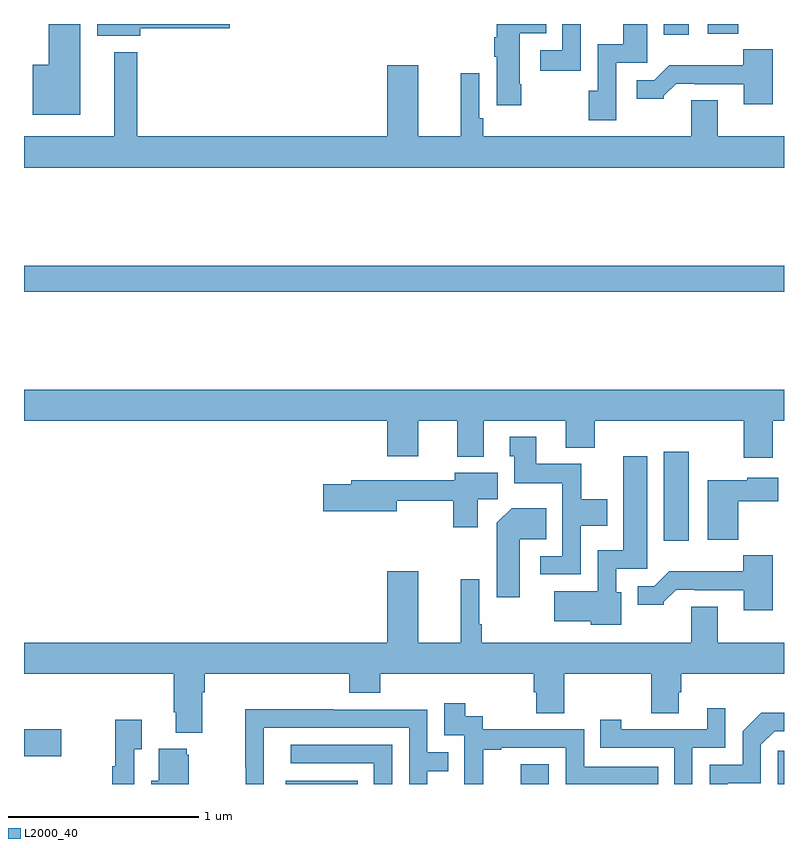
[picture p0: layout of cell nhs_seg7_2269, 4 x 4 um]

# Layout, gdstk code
import gdstk
lib = gdstk.Library(unit=1e-6, precision=1e-09)
def R(c, l, rs):  # rectangles x0, y0, x1, y1
    for r in rs: c.add(gdstk.rectangle(r[:2], r[2:], *l))
def P(c, l, *ps):  # polygons
    for p in ps: c.add(gdstk.Polygon(p, *l))
L2000_40 = (2000, 40)

nhs_seg7_2269 = lib.new_cell('nhs_seg7_2269')
R(nhs_seg7_2269, L2000_40, [(260.378,1036,260.756,1036.018), (261.615,1036,261.762,1036.105), (262.968,1036,263,1036.174), (259,1036.145,259.195,1036.287), (262.367,1037.28,262.498,1037.749), (259,1038.592,263,1038.728), (262.367,1039.944,262.498,1040), (262.598,1039.949,262.76,1040)])
P(nhs_seg7_2269, L2000_40, [(261.93,1040),(261.834,1040),(261.834,1039.863),(261.717,1039.863),(261.717,1039.755),(261.93,1039.755)],
  [(259.297,1040),(259.13,1040),(259.13,1039.786),(259.046,1039.786),(259.046,1039.523),(259.297,1039.523)],
  [(262.116,1039.797),(262.279,1039.797),(262.279,1040),(262.154,1040),(262.154,1039.894),(262.02,1039.894),(262.02,1039.65),(261.973,1039.65),(261.973,1039.494),(262.116,1039.494)],
  [(261.618,1039.684),(261.61,1039.684),(261.61,1039.952),(261.749,1039.952),(261.749,1040),(261.488,1040),(261.488,1039.931),(261.476,1039.931),(261.476,1039.828),(261.488,1039.828),(261.488,1039.572),(261.618,1039.572)],
  [(259.612,1039.978),(260.083,1039.978),(260.083,1040),(259.385,1040),(259.385,1039.937),(259.612,1039.937)],
  [(262.94,1039.867),(262.785,1039.867),(262.785,1039.783),(262.396,1039.783),(262.317,1039.704),(262.224,1039.704),(262.224,1039.607),(262.368,1039.607),(262.368,1039.622),(262.432,1039.686),(262.531,1039.686),(262.531,1039.683),(262.787,1039.683),(262.787,1039.578),(262.94,1039.578)],
  [(263,1039.408),(262.651,1039.408),(262.651,1039.598),(262.511,1039.598),(262.511,1039.408),(261.416,1039.408),(261.416,1039.504),(261.396,1039.504),(261.396,1039.741),(261.298,1039.741),(261.298,1039.408),(261.076,1039.408),(261.076,1039.783),(260.912,1039.783),(260.912,1039.408),(259.597,1039.408),(259.597,1039.852),(259.475,1039.852),(259.475,1039.408),(259,1039.408),(259,1039.244),(263,1039.244)],
  [(262.94,1037.912),(263,1037.912),(263,1038.076),(259,1038.076),(259,1037.912),(260.912,1037.912),(260.912,1037.724),(261.076,1037.724),(261.076,1037.912),(261.281,1037.912),(261.281,1037.723),(261.421,1037.723),(261.421,1037.912),(261.851,1037.912),(261.851,1037.771),(262.004,1037.771),(262.004,1037.912),(262.787,1037.912),(262.787,1037.718),(262.94,1037.718)],
  [(261.93,1037.36),(262.069,1037.36),(262.069,1037.5),(261.933,1037.5),(261.933,1037.686),(261.697,1037.686),(261.697,1037.827),(261.557,1037.827),(261.557,1037.724),(261.581,1037.724),(261.581,1037.582),(261.834,1037.582),(261.834,1037.199),(261.717,1037.199),(261.717,1037.103),(261.93,1037.103)],
  [(262.144,1037.01),(262.116,1037.01),(262.116,1037.133),(262.279,1037.133),(262.279,1037.725),(262.154,1037.725),(262.154,1037.23),(262.02,1037.23),(262.02,1037.014),(261.791,1037.014),(261.791,1036.856),(261.984,1036.856),(261.984,1036.838),(262.144,1036.838)],
  [(261.388,1037.5),(261.493,1037.5),(261.493,1037.638),(261.266,1037.638),(261.266,1037.598),(260.723,1037.598),(260.723,1037.577),(260.574,1037.577),(260.574,1037.435),(260.962,1037.435),(260.962,1037.49),(261.259,1037.49),(261.259,1037.352),(261.388,1037.352)],
  [(262.76,1037.489),(262.969,1037.489),(262.969,1037.611),(262.806,1037.611),(262.806,1037.599),(262.598,1037.599),(262.598,1037.285),(262.76,1037.285)],
  [(261.61,1037.288),(261.749,1037.288),(261.749,1037.452),(261.566,1037.452),(261.488,1037.374),(261.488,1036.983),(261.61,1036.983)],
  [(262.94,1037.203),(262.785,1037.203),(262.785,1037.119),(262.396,1037.119),(262.317,1037.04),(262.229,1037.04),(262.229,1036.943),(262.368,1036.943),(262.368,1036.958),(262.432,1037.022),(262.531,1037.022),(262.531,1037.019),(262.787,1037.019),(262.787,1036.914),(262.94,1036.914)],
  [(259.939,1036.484),(259.952,1036.484),(259.952,1036.58),(260.711,1036.58),(260.711,1036.481),(260.876,1036.481),(260.876,1036.58),(261.683,1036.58),(261.683,1036.482),(261.695,1036.482),(261.695,1036.372),(261.843,1036.372),(261.843,1036.58),(262.3,1036.58),(262.3,1036.372),(262.447,1036.372),(262.447,1036.482),(262.46,1036.482),(262.46,1036.58),(263,1036.58),(263,1036.744),(262.651,1036.744),(262.651,1036.934),(262.511,1036.934),(262.511,1036.744),(261.409,1036.744),(261.409,1036.84),(261.396,1036.84),(261.396,1037.077),(261.298,1037.077),(261.298,1036.744),(261.076,1036.744),(261.076,1037.119),(260.912,1037.119),(260.912,1036.744),(259,1036.744),(259,1036.58),(259.787,1036.58),(259.787,1036.378),(259.799,1036.378),(259.799,1036.271),(259.939,1036.271)],
  [(261.416,1036.179),(261.511,1036.179),(261.511,1036.191),(261.852,1036.191),(261.852,1036),(262.337,1036),(262.337,1036.092),(261.948,1036.092),(261.948,1036.287),(261.414,1036.287),(261.414,1036.356),(261.322,1036.356),(261.322,1036.426),(261.213,1036.426),(261.213,1036.257),(261.318,1036.257),(261.318,1036.028),(261.317,1036.028),(261.317,1036),(261.416,1036)],
  [(262.518,1036.191),(262.692,1036.191),(262.692,1036.399),(262.595,1036.399),(262.595,1036.287),(262.144,1036.287),(262.144,1036.339),(262.033,1036.339),(262.033,1036.191),(262.422,1036.191),(262.422,1036),(262.518,1036)],
  [(260.262,1036.296),(261.027,1036.296),(261.027,1036),(261.123,1036),(261.123,1036.066),(261.233,1036.066),(261.233,1036.167),(261.123,1036.167),(261.123,1036.392),(260.627,1036.392),(260.627,1036.394),(260.164,1036.394),(260.164,1036.087),(260.166,1036.087),(260.166,1036),(260.262,1036)],
  [(262.705,1036.005),(262.878,1036.005),(262.878,1036.206),(262.95,1036.278),(263,1036.278),(263,1036.376),(262.88,1036.376),(262.782,1036.278),(262.782,1036.101),(262.608,1036.101),(262.608,1036),(262.705,1036)],
  [(259.581,1036.183),(259.621,1036.183),(259.621,1036.339),(259.48,1036.339),(259.48,1036.094),(259.465,1036.094),(259.465,1036),(259.581,1036)],
  [(260.937,1036.206),(260.403,1036.206),(260.403,1036.11),(260.841,1036.11),(260.841,1036),(260.937,1036)],
  [(259.867,1036.155),(259.856,1036.155),(259.856,1036.186),(259.709,1036.186),(259.709,1036.018),(259.67,1036.018),(259.67,1036),(259.867,1036)])

lib.write_gds('nhs_seg7_2269.gds')
